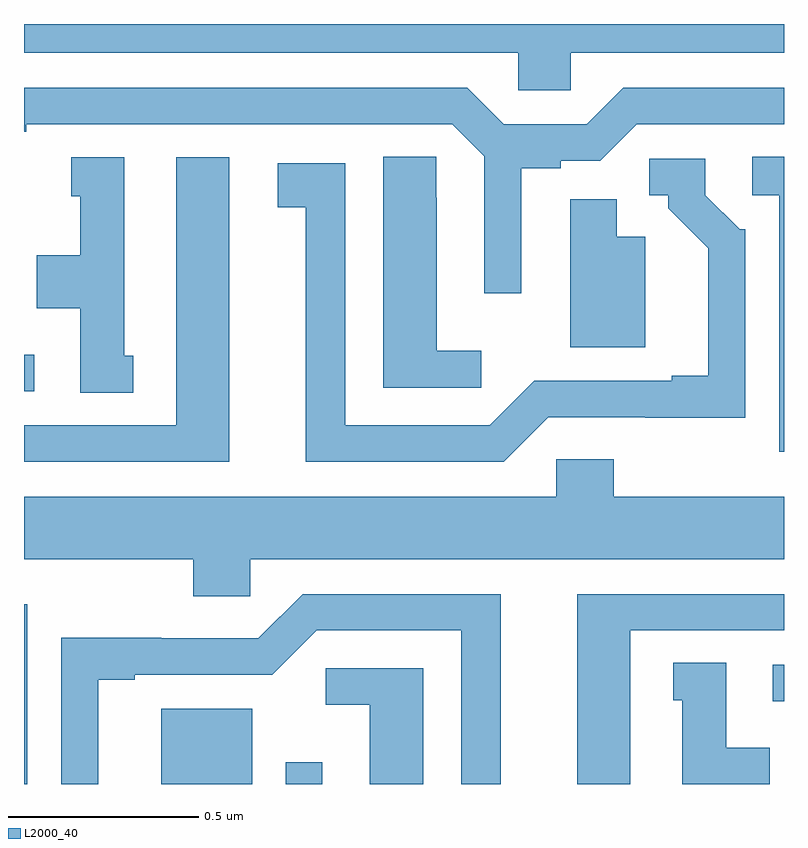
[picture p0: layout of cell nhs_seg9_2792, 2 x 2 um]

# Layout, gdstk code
import gdstk
lib = gdstk.Library(unit=1e-6, precision=1e-09)
def R(c, l, rs):  # rectangles x0, y0, x1, y1
    for r in rs: c.add(gdstk.rectangle(r[:2], r[2:], *l))
def P(c, l, *ps):  # polygons
    for p in ps: c.add(gdstk.Polygon(p, *l))
L2000_40 = (2000, 40)

nhs_seg9_2792 = lib.new_cell('nhs_seg9_2792')
R(nhs_seg9_2792, L2000_40, [(145,1190.5,145.008,1190.973), (145.361,1190.5,145.6,1190.698), (145.689,1190.5,145.785,1190.557), (146.97,1190.718,147,1190.814), (145,1191.534,145.027,1191.63)])
P(nhs_seg9_2792, L2000_40, [(146.439,1192.424),(147,1192.424),(147,1192.5),(145,1192.5),(145,1192.424),(146.301,1192.424),(146.301,1192.326),(146.439,1192.326)],
  [(146.308,1192.12),(146.412,1192.12),(146.412,1192.14),(146.517,1192.14),(146.613,1192.236),(147,1192.236),(147,1192.332),(146.577,1192.332),(146.481,1192.236),(146.263,1192.236),(146.167,1192.332),(145,1192.332),(145,1192.216),(145.006,1192.216),(145.006,1192.236),(146.127,1192.236),(146.211,1192.152),(146.211,1191.792),(146.308,1191.792)],
  [(146.203,1191.64),(146.086,1191.64),(146.086,1192.043),(146.085,1192.043),(146.085,1192.151),(145.946,1192.151),(145.946,1191.543),(146.203,1191.543)],
  [(147,1192.151),(146.916,1192.151),(146.916,1192.05),(146.988,1192.05),(146.988,1191.375),(147,1191.375)],
  [(145.54,1192.15),(145.4,1192.15),(145.4,1191.444),(145,1191.444),(145,1191.348),(145.54,1191.348)],
  [(145.288,1191.627),(145.264,1191.627),(145.264,1192.15),(145.124,1192.15),(145.124,1192.047),(145.148,1192.047),(145.148,1191.892),(145.034,1191.892),(145.034,1191.752),(145.148,1191.752),(145.148,1191.529),(145.288,1191.529)],
  [(146.379,1191.465),(146.635,1191.465),(146.635,1191.464),(146.898,1191.464),(146.898,1191.96),(146.883,1191.96),(146.793,1192.05),(146.793,1192.146),(146.646,1192.146),(146.646,1192.05),(146.696,1192.05),(146.696,1192.015),(146.801,1191.91),(146.801,1191.574),(146.705,1191.574),(146.705,1191.561),(146.343,1191.561),(146.226,1191.444),(145.846,1191.444),(145.846,1192.134),(145.668,1192.134),(145.668,1192.018),(145.742,1192.018),(145.742,1191.348),(146.262,1191.348)],
  [(146.635,1191.94),(146.56,1191.94),(146.56,1192.039),(146.438,1192.039),(146.438,1191.65),(146.635,1191.65)],
  [(145.596,1191.092),(147,1191.092),(147,1191.256),(146.552,1191.256),(146.552,1191.354),(146.4,1191.354),(146.4,1191.256),(145,1191.256),(145,1191.092),(145.445,1191.092),(145.445,1190.994),(145.596,1190.994)],
  [(146.596,1190.904),(147,1190.904),(147,1191),(146.456,1191),(146.456,1190.5),(146.596,1190.5)],
  [(145.195,1190.775),(145.291,1190.775),(145.291,1190.787),(145.653,1190.787),(145.77,1190.904),(146.15,1190.904),(146.15,1190.5),(146.254,1190.5),(146.254,1191),(145.734,1191),(145.617,1190.883),(145.361,1190.883),(145.361,1190.885),(145.098,1190.885),(145.098,1190.5),(145.195,1190.5)],
  [(146.962,1190.596),(146.848,1190.596),(146.848,1190.819),(146.708,1190.819),(146.708,1190.721),(146.732,1190.721),(146.732,1190.5),(146.962,1190.5)],
  [(146.05,1190.805),(145.794,1190.805),(145.794,1190.708),(145.91,1190.708),(145.91,1190.5),(146.05,1190.5)])

lib.write_gds('nhs_seg9_2792.gds')
